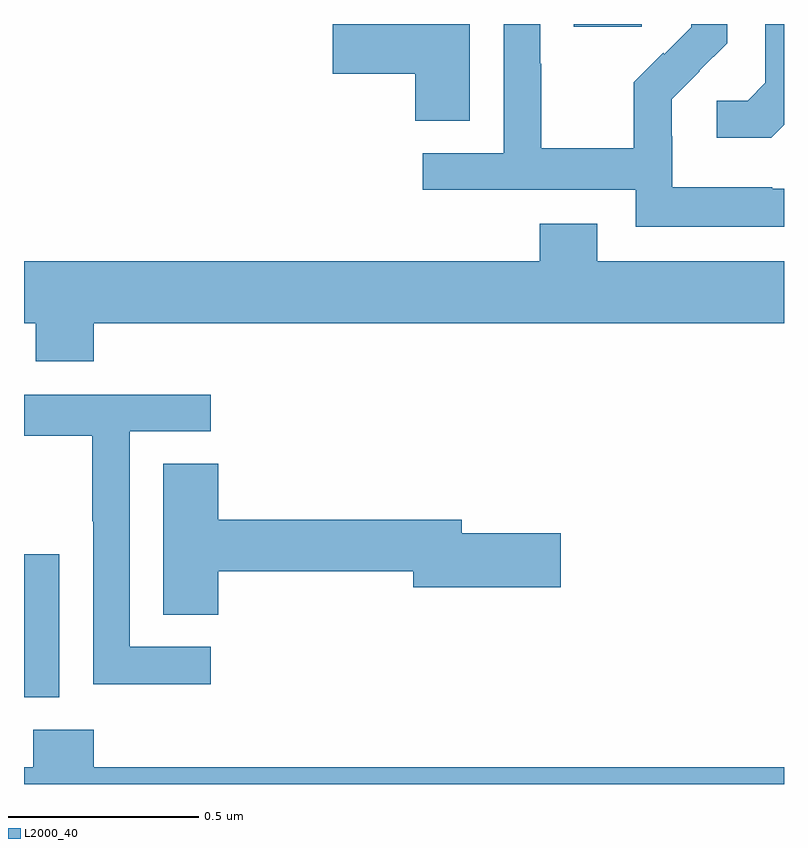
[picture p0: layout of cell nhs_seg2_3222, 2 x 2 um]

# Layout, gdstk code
import gdstk
lib = gdstk.Library(unit=1e-6, precision=1e-09)
def R(c, l, rs):  # rectangles x0, y0, x1, y1
    for r in rs: c.add(gdstk.rectangle(r[:2], r[2:], *l))
def P(c, l, *ps):  # polygons
    for p in ps: c.add(gdstk.Polygon(p, *l))
L2000_40 = (2000, 40)

nhs_seg2_3222 = lib.new_cell('nhs_seg2_3222')
R(nhs_seg2_3222, L2000_40, [(151,604.028,151.093,604.405), (152.447,605.793,152.626,605.8)])
P(nhs_seg2_3222, L2000_40, [(152.173,605.8),(151.812,605.8),(151.812,605.669),(152.03,605.669),(152.03,605.545),(152.173,605.545)],
  [(153,605.367),(152.969,605.367),(152.969,605.371),(152.706,605.371),(152.706,605.505),(152.704,605.505),(152.704,605.602),(152.778,605.676),(152.777,605.677),(152.85,605.75),(152.85,605.8),(152.756,605.8),(152.756,605.792),(152.685,605.721),(152.682,605.724),(152.605,605.647),(152.605,605.473),(152.361,605.473),(152.361,605.696),(152.358,605.696),(152.358,605.8),(152.262,605.8),(152.262,605.46),(152.049,605.46),(152.049,605.364),(152.61,605.364),(152.61,605.267),(153,605.267)],
  [(153,605.535),(153,605.8),(152.951,605.8),(152.951,605.645),(152.904,605.598),(152.823,605.598),(152.823,605.501),(152.966,605.501)],
  [(151.184,605.012),(153,605.012),(153,605.176),(152.509,605.176),(152.509,605.275),(152.357,605.275),(152.357,605.176),(151,605.176),(151,605.012),(151.031,605.012),(151.031,604.913),(151.184,604.913)],
  [(151.492,604.161),(151.278,604.161),(151.278,604.728),(151.492,604.728),(151.492,604.824),(151,604.824),(151,604.716),(151.18,604.716),(151.18,604.492),(151.182,604.492),(151.182,604.063),(151.492,604.063)],
  [(151.511,604.36),(152.024,604.36),(152.024,604.318),(152.413,604.318),(152.413,604.46),(152.152,604.46),(152.152,604.496),(151.511,604.496),(151.511,604.643),(151.367,604.643),(151.367,604.246),(151.511,604.246)],
  [(153,603.844),(151.184,603.844),(151.184,603.943),(151.024,603.943),(151.024,603.844),(151,603.844),(151,603.8),(153,603.8)])

lib.write_gds('nhs_seg2_3222.gds')
